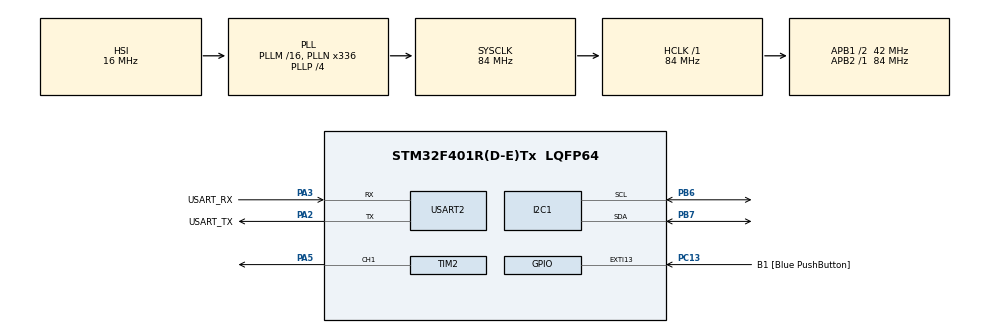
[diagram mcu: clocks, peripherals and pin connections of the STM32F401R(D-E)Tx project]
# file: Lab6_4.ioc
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Mcu.Family=STM32F4
Mcu.Name=STM32F401R(D-E)Tx
Mcu.Package=LQFP64
NVIC.PriorityGroup=NVIC_PRIORITYGROUP_0
PA13.GPIO_Label=TMS
PA13.Mode=Serial_Wire
PA13.Signal=SYS_JTMS-SWDIO
PA14.GPIO_Label=TCK
PA14.Mode=Serial_Wire
PA14.Signal=SYS_JTCK-SWCLK
PA2.GPIO_Label=USART_TX
PA2.GPIO_Mode=GPIO_MODE_AF_PP
PA2.GPIO_PuPd=GPIO_NOPULL
PA2.GPIO_Speed=GPIO_SPEED_FREQ_LOW
PA2.Mode=Asynchronous
PA2.Signal=USART2_TX
PA3.GPIO_Label=USART_RX
PA3.GPIO_Mode=GPIO_MODE_AF_PP
PA3.GPIO_PuPd=GPIO_NOPULL
PA3.GPIO_Speed=GPIO_SPEED_FREQ_LOW
PA3.Mode=Asynchronous
PA3.Signal=USART2_RX
PA5.Signal=S_TIM2_CH1_ETR
PB3.GPIO_Label=SWO
PB3.Signal=SYS_JTDO-SWO
PB6.Mode=I2C
PB6.Signal=I2C1_SCL
PB7.Mode=I2C
PB7.Signal=I2C1_SDA
PC13-ANTI_TAMP.GPIO_Label=B1 [Blue PushButton]
PC13-ANTI_TAMP.GPIO_ModeDefaultEXTI=GPIO_MODE_IT_FALLING
PC13-ANTI_TAMP.GPIO_PuPd=GPIO_NOPULL
PC13-ANTI_TAMP.Signal=GPXTI13
PC14-OSC32_IN.Mode=LSE-External-Oscillator
PC14-OSC32_IN.Signal=RCC_OSC32_IN
PC15-OSC32_OUT.Mode=LSE-External-Oscillator
PC15-OSC32_OUT.Signal=RCC_OSC32_OUT
PH0\ -\ OSC_IN.Mode=HSE-External-Clock-Source
PH0\ -\ OSC_IN.Signal=RCC_OSC_IN
PH1\ -\ OSC_OUT.Mode=HSE-External-Clock-Source
PH1\ -\ OSC_OUT.Signal=RCC_OSC_OUT
ProjectManager.HeapSize=0x200
ProjectManager.StackSize=0x400
ProjectManager.TargetToolchain=STM32CubeIDE
RCC.48MHZClocksFreq_Value=48000000
RCC.AHBFreq_Value=84000000
RCC.APB1CLKDivider=RCC_HCLK_DIV2
RCC.APB1Freq_Value=42000000
RCC.APB1TimFreq_Value=84000000
RCC.APB2Freq_Value=84000000
RCC.APB2TimFreq_Value=84000000
RCC.CortexFreq_Value=84000000
RCC.HCLKFreq_Value=84000000
RCC.HSE_VALUE=8000000
RCC.HSI_VALUE=16000000
RCC.PLLN=336
RCC.PLLP=RCC_PLLP_DIV4
RCC.PLLQ=7
RCC.SYSCLKFreq_VALUE=84000000
RCC.SYSCLKSource=RCC_SYSCLKSOURCE_PLLCLK
RCC.VCOOutputFreq_Value=336000000
SH.S_TIM2_CH1_ETR.0=TIM2_CH1,PWM Generation1 CH1
TIM2.Channel-PWM\ Generation1\ CH1=TIM_CHANNEL_1
TIM2.Period=100-1
TIM2.Prescaler=84-1
TIM2.Pulse-PWM\ Generation1\ CH1=50
USART2.VirtualMode=VM_ASYNC
VP_TIM2_VS_ClockSourceINT.Mode=Internal
board=NUCLEO-F401RE

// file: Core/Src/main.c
/* USER CODE BEGIN Header */
/**
 ******************************************************************************
 * @file           : main.c
 * @brief          : Main program body
 ******************************************************************************
 * @attention
 *
 * Copyright (c) 2022 STMicroelectronics.
 * All rights reserved.
 *
 * This software is licensed under terms that can be found in the LICENSE file
 * in the root directory of this software component.
 * If no LICENSE file comes with this software, it is provided AS-IS.
 *
 ******************************************************************************
 */
/* USER CODE END Header */
#include "main.h"

I2C_HandleTypeDef hi2c1;

TIM_HandleTypeDef htim2;

UART_HandleTypeDef huart2;

void SystemClock_Config(void);
static void MX_GPIO_Init(void);
static void MX_USART2_UART_Init(void);
static void MX_I2C1_Init(void);
static void MX_TIM2_Init(void);

int main(void)
{
  /* USER CODE BEGIN 1 */
	char receivedData[1];

	int up = 1;
	int lvl = 0;
	int d[3] = { 5, 10, 20 };
	int state = 0;

  /* USER CODE END 1 */

  /* MCU Configuration--------------------------------------------------------*/

  /* Reset of all peripherals, Initializes the Flash interface and the Systick. */
  HAL_Init();

  /* Configure the system clock */
  SystemClock_Config();

  /* Initialize all configured peripherals */
  MX_GPIO_Init();
  MX_USART2_UART_Init();
  MX_I2C1_Init();
  MX_TIM2_Init();
  /* USER CODE BEGIN 2 */
  //HAL_TIM_Base_Start(&htim2);
  HAL_TIM_PWM_Start(&htim2, TIM_CHANNEL_1);
  /* USER CODE END 2 */

  /* Infinite loop */
	while (1) {

    /* USER CODE BEGIN 3 */
		if (HAL_I2C_Slave_Receive(&hi2c1, receivedData, sizeof(receivedData),
				d[state]) == HAL_OK) {

			if (receivedData[0] == '0') {
				state = (state+1)%3;
				//HAL_GPIO_WritePin(LD2_GPIO_Port, LD2_Pin, 0);
			} else if (receivedData[0] == '1') {
				//HAL_GPIO_WritePin(LD2_GPIO_Port, LD2_Pin, 1);
			}

		}

		if (up) {
			lvl++;
			if (lvl >= 100) {
				up = 0;
			}
			TIM2->CCR1 = lvl;
		} else {
			lvl--;
			if (lvl <= 0) {
				up = 1;
			}
			TIM2->CCR1 = lvl;
		}
		//HAL_Delay(d[state]);
	}
  /* USER CODE END 3 */
}

void SystemClock_Config(void)
{
  RCC_OscInitTypeDef RCC_OscInitStruct = {0};
  RCC_ClkInitTypeDef RCC_ClkInitStruct = {0};

  /** Configure the main internal regulator output voltage
  */
  __HAL_RCC_PWR_CLK_ENABLE();
  __HAL_PWR_VOLTAGESCALING_CONFIG(PWR_REGULATOR_VOLTAGE_SCALE2);
  /** Initializes the RCC Oscillators according to the specified parameters
  * in the RCC_OscInitTypeDef structure.
  */
  RCC_OscInitStruct.OscillatorType = RCC_OSCILLATORTYPE_HSI;
  RCC_OscInitStruct.HSIState = RCC_HSI_ON;
  RCC_OscInitStruct.HSICalibrationValue = RCC_HSICALIBRATION_DEFAULT;
  RCC_OscInitStruct.PLL.PLLState = RCC_PLL_ON;
  RCC_OscInitStruct.PLL.PLLSource = RCC_PLLSOURCE_HSI;
  RCC_OscInitStruct.PLL.PLLM = 16;
  RCC_OscInitStruct.PLL.PLLN = 336;
  RCC_OscInitStruct.PLL.PLLP = RCC_PLLP_DIV4;
  RCC_OscInitStruct.PLL.PLLQ = 7;
  if (HAL_RCC_OscConfig(&RCC_OscInitStruct) != HAL_OK)
  {
    Error_Handler();
  }
  /** Initializes the CPU, AHB and APB buses clocks
  */
  RCC_ClkInitStruct.ClockType = RCC_CLOCKTYPE_HCLK|RCC_CLOCKTYPE_SYSCLK
                              |RCC_CLOCKTYPE_PCLK1|RCC_CLOCKTYPE_PCLK2;
  RCC_ClkInitStruct.SYSCLKSource = RCC_SYSCLKSOURCE_PLLCLK;
  RCC_ClkInitStruct.AHBCLKDivider = RCC_SYSCLK_DIV1;
  RCC_ClkInitStruct.APB1CLKDivider = RCC_HCLK_DIV2;
  RCC_ClkInitStruct.APB2CLKDivider = RCC_HCLK_DIV1;

  if (HAL_RCC_ClockConfig(&RCC_ClkInitStruct, FLASH_LATENCY_2) != HAL_OK)
  {
    Error_Handler();
  }
}

static void MX_I2C1_Init(void)
{

  hi2c1.Instance = I2C1;
  hi2c1.Init.ClockSpeed = 100000;
  hi2c1.Init.DutyCycle = I2C_DUTYCYCLE_2;
  hi2c1.Init.OwnAddress1 = 0;
  hi2c1.Init.AddressingMode = I2C_ADDRESSINGMODE_7BIT;
  hi2c1.Init.DualAddressMode = I2C_DUALADDRESS_DISABLE;
  hi2c1.Init.OwnAddress2 = 0;
  hi2c1.Init.GeneralCallMode = I2C_GENERALCALL_DISABLE;
  hi2c1.Init.NoStretchMode = I2C_NOSTRETCH_DISABLE;
  if (HAL_I2C_Init(&hi2c1) != HAL_OK)
  {
    Error_Handler();
  }

}

static void MX_TIM2_Init(void)
{

  TIM_ClockConfigTypeDef sClockSourceConfig = {0};
  TIM_MasterConfigTypeDef sMasterConfig = {0};
  TIM_OC_InitTypeDef sConfigOC = {0};

  htim2.Instance = TIM2;
  htim2.Init.Prescaler = 84-1;
  htim2.Init.CounterMode = TIM_COUNTERMODE_UP;
  htim2.Init.Period = 100-1;
  htim2.Init.ClockDivision = TIM_CLOCKDIVISION_DIV1;
  htim2.Init.AutoReloadPreload = TIM_AUTORELOAD_PRELOAD_DISABLE;
  if (HAL_TIM_Base_Init(&htim2) != HAL_OK)
  {
    Error_Handler();
  }
  sClockSourceConfig.ClockSource = TIM_CLOCKSOURCE_INTERNAL;
  if (HAL_TIM_ConfigClockSource(&htim2, &sClockSourceConfig) != HAL_OK)
  {
    Error_Handler();
  }
  if (HAL_TIM_PWM_Init(&htim2) != HAL_OK)
  {
    Error_Handler();
  }
  sMasterConfig.MasterOutputTrigger = TIM_TRGO_RESET;
  sMasterConfig.MasterSlaveMode = TIM_MASTERSLAVEMODE_DISABLE;
  if (HAL_TIMEx_MasterConfigSynchronization(&htim2, &sMasterConfig) != HAL_OK)
  {
    Error_Handler();
  }
  sConfigOC.OCMode = TIM_OCMODE_PWM1;
  sConfigOC.Pulse = 50;
  sConfigOC.OCPolarity = TIM_OCPOLARITY_HIGH;
  sConfigOC.OCFastMode = TIM_OCFAST_DISABLE;
  if (HAL_TIM_PWM_ConfigChannel(&htim2, &sConfigOC, TIM_CHANNEL_1) != HAL_OK)
  {
    Error_Handler();
  }
  HAL_TIM_MspPostInit(&htim2);

}

static void MX_USART2_UART_Init(void)
{

  huart2.Instance = USART2;
  huart2.Init.BaudRate = 115200;
  huart2.Init.WordLength = UART_WORDLENGTH_8B;
  huart2.Init.StopBits = UART_STOPBITS_1;
  huart2.Init.Parity = UART_PARITY_NONE;
  huart2.Init.Mode = UART_MODE_TX_RX;
  huart2.Init.HwFlowCtl = UART_HWCONTROL_NONE;
  huart2.Init.OverSampling = UART_OVERSAMPLING_16;
  if (HAL_UART_Init(&huart2) != HAL_OK)
  {
    Error_Handler();
  }

}

static void MX_GPIO_Init(void)
{
  GPIO_InitTypeDef GPIO_InitStruct = {0};

  /* GPIO Ports Clock Enable */
  __HAL_RCC_GPIOC_CLK_ENABLE();
  __HAL_RCC_GPIOH_CLK_ENABLE();
  __HAL_RCC_GPIOA_CLK_ENABLE();
  __HAL_RCC_GPIOB_CLK_ENABLE();

  /*Configure GPIO pin : B1_Pin */
  GPIO_InitStruct.Pin = B1_Pin;
  GPIO_InitStruct.Mode = GPIO_MODE_IT_FALLING;
  GPIO_InitStruct.Pull = GPIO_NOPULL;
  HAL_GPIO_Init(B1_GPIO_Port, &GPIO_InitStruct);

}

void Error_Handler(void)
{
	__disable_irq();
	while (1) {
	}
}
